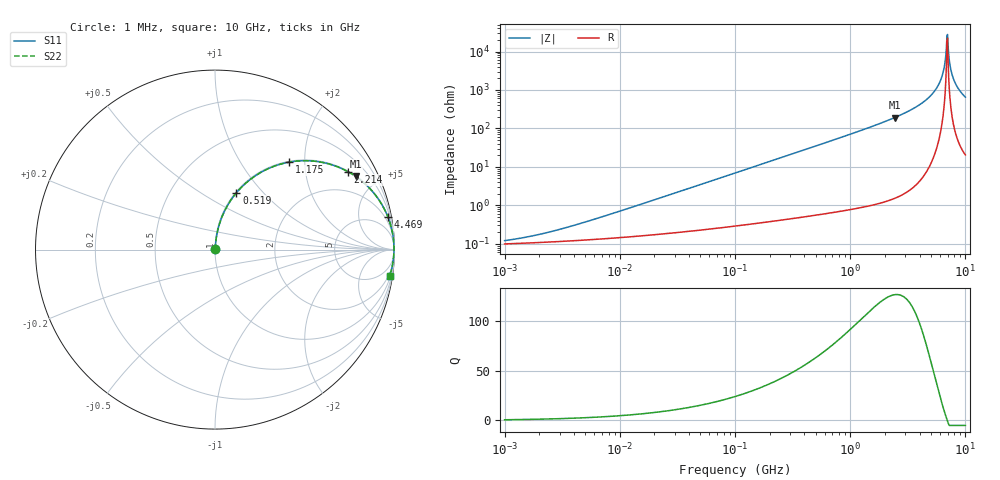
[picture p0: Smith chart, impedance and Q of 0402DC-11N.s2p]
# MHz  S  MA  R  50
!Freq  MagS11  AngS11  MagS21  AngS21  MagS12  AngS12  MagS22  AngS22
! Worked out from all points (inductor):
!   801 points, 1 MHz to 10 GHz, reference 50 ohm
!   read as one part in series: L = 11 nH near 5.559 MHz
!   highest Q = 126 at 2.427 GHz (marker M1), where L = 12.5 nH
!   self-resonance near 6.921 GHz
!   S11 on the Smith chart (normalised r, x): 1 MHz: 1.00, +0.00; 519 MHz: 1.01, +0.72; 1.175 GHz: 1.02, +1.67; 2.214 GHz: 1.03, +3.40; 4.469 GHz: 1, +10; 10 GHz: 1, -13
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1  0.001208 34.8  0.999 -0.0  0.999 -0.0  0.001208 34.8
2.018433  0.001763 52.2  0.9989 -0.1  0.9989 -0.1  0.001763 52.2
4.67769  0.003457 68.9  0.9988 -0.2  0.9988 -0.2  0.003457 68.9
21.6303  0.01502 82.4  0.9981 -0.9  0.9981 -0.9  0.01502 82.4
100.0216  0.06884 83.7  0.9948 -3.9  0.9948 -3.9  0.06884 83.7
467.8699  0.3075 71.1  0.9465 -17.9  0.9465 -17.9  0.3075 71.1
518.952  0.3376 69.4  0.936 -19.7  0.936 -19.7  0.3376 69.4
1175.287  0.6383 49.8  0.7634 -39.7  0.7634 -39.7  0.6383 49.8
2163.497  0.8529 31.0  0.5153 -58.5  0.5153 -58.5  0.8529 31.0
2213.894  0.8592 30.3  0.5048 -59.2  0.5048 -59.2  0.8592 30.3
2427.497  0.883 27.5  0.4624 -62.0  0.4624 -62.0  0.883 27.5
4468.595  0.9801 10.8  0.1867 -78.5  0.1867 -78.5  0.9801 10.8
5310.979  0.9912 6.5  0.1131 -82.3  0.1131 -82.3  0.9912 6.5
5959.048  0.9954 3.7  0.06482 -84.1  0.06482 -84.1  0.9954 3.7
6385.256  0.9967 2.1  0.03614 -83.7  0.03614 -83.7  0.9967 2.1
6686.198  0.9971 1.0  0.01716 -79.8  0.01716 -79.8  0.9971 1.0
6921.177  0.9971 0.2  0.003877 -42.5  0.003877 -42.5  0.9971 0.2
7164.414  0.997 -0.7  0.01205 75.1  0.01205 75.1  0.997 -0.7
7588.952  0.9962 -2.0  0.03568 82.9  0.03568 82.9  0.9962 -2.0
8038.648  0.9948 -3.4  0.05953 83.3  0.05953 83.3  0.9948 -3.4
8916.309  0.9907 -5.9  0.1027 81.9  0.1027 81.9  0.9907 -5.9
10000  0.9838 -8.7  0.1511 79.5  0.1511 79.5  0.9838 -8.7
